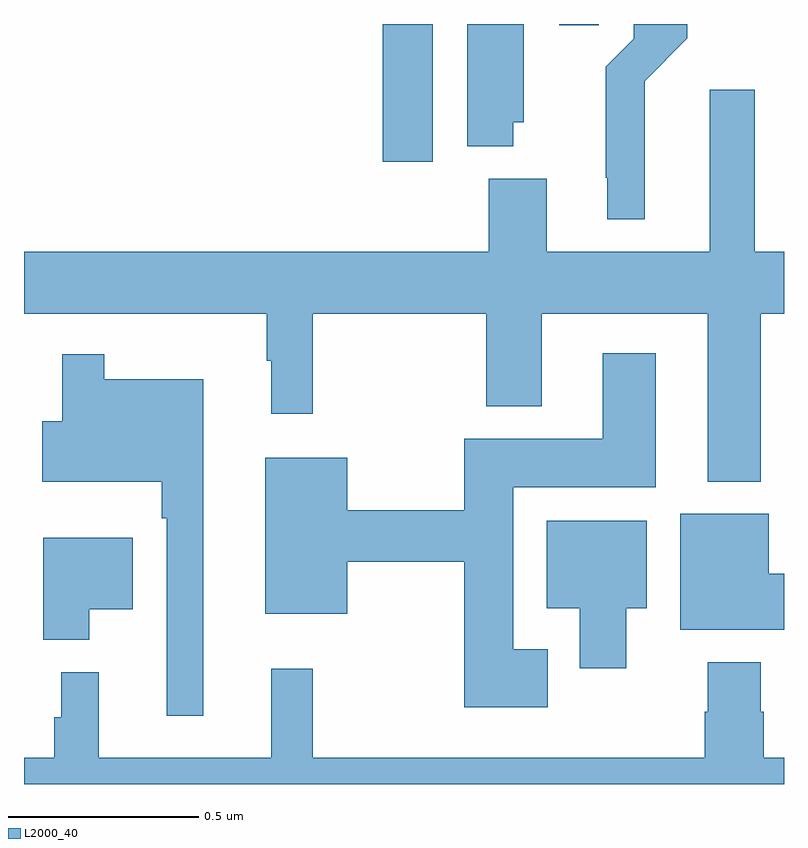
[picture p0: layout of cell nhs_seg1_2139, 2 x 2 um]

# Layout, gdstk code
import gdstk
lib = gdstk.Library(unit=1e-6, precision=1e-09)
def R(c, l, rs):  # rectangles x0, y0, x1, y1
    for r in rs: c.add(gdstk.rectangle(r[:2], r[2:], *l))
def P(c, l, *ps):  # polygons
    for p in ps: c.add(gdstk.Polygon(p, *l))
L2000_40 = (2000, 40)

nhs_seg1_2139 = lib.new_cell('nhs_seg1_2139')
R(nhs_seg1_2139, L2000_40, [(138.944,514.836,139.075,515.199), (139.409,515.196,139.513,515.199)])
P(nhs_seg1_2139, L2000_40, [(139.288,514.941),(139.315,514.941),(139.315,515.199),(139.166,515.199),(139.166,514.877),(139.288,514.877)],
  [(139.633,515.048),(139.746,515.161),(139.746,515.199),(139.605,515.199),(139.605,515.16),(139.531,515.086),(139.531,514.795),(139.535,514.795),(139.535,514.685),(139.633,514.685)],
  [(139.939,514.436),(140,514.436),(140,514.6),(139.923,514.6),(139.923,515.026),(139.805,515.026),(139.805,514.6),(139.375,514.6),(139.375,514.792),(139.223,514.792),(139.223,514.6),(138,514.6),(138,514.436),(138.639,514.436),(138.639,514.313),(138.65,514.313),(138.65,514.173),(138.76,514.173),(138.76,514.436),(139.216,514.436),(139.216,514.193),(139.363,514.193),(139.363,514.436),(139.799,514.436),(139.799,513.995),(139.939,513.995)],
  [(139.378,513.553),(139.288,513.553),(139.288,513.98),(139.663,513.98),(139.663,514.333),(139.523,514.333),(139.523,514.108),(139.159,514.108),(139.159,513.92),(138.85,513.92),(138.85,514.057),(138.635,514.057),(138.635,513.647),(138.85,513.647),(138.85,513.784),(139.159,513.784),(139.159,513.401),(139.378,513.401)],
  [(138.472,514.264),(138.211,514.264),(138.211,514.33),(138.101,514.33),(138.101,514.153),(138.048,514.153),(138.048,513.995),(138.363,513.995),(138.363,513.899),(138.375,513.899),(138.375,513.378),(138.472,513.378)],
  [(140,513.752),(139.96,513.752),(139.96,513.91),(139.727,513.91),(139.727,513.605),(140,513.605)],
  [(139.585,513.662),(139.639,513.662),(139.639,513.892),(139.376,513.892),(139.376,513.662),(139.463,513.662),(139.463,513.504),(139.585,513.504)],
  [(138.172,513.659),(138.286,513.659),(138.286,513.847),(138.05,513.847),(138.05,513.578),(138.172,513.578)],
  [(139.799,513.52),(139.799,513.389),(139.792,513.389),(139.792,513.268),(138.76,513.268),(138.76,513.502),(138.65,513.502),(138.65,513.268),(138.197,513.268),(138.197,513.493),(138.098,513.493),(138.098,513.375),(138.079,513.375),(138.079,513.268),(138,513.268),(138,513.199),(140,513.199),(140,513.268),(139.947,513.268),(139.947,513.389),(139.939,513.389),(139.939,513.52)])

lib.write_gds('nhs_seg1_2139.gds')
